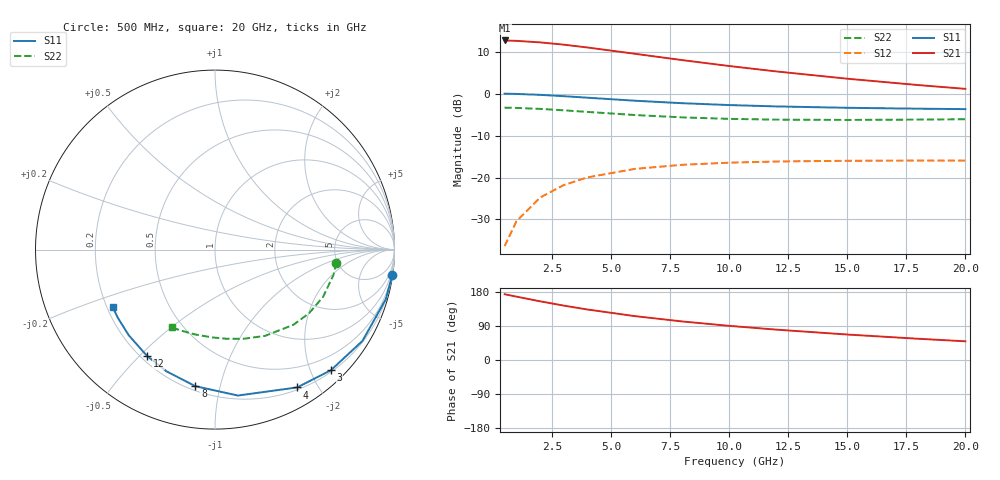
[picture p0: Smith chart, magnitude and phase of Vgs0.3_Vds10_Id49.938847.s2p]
# Hz S RI R 50
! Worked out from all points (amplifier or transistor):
!   12 points, 500 MHz to 20 GHz, reference 50 ohm
!   highest |S21| = 12.7 dB at 500 MHz (marker M1)
!   |S21| within 3 dB of that: start of sweep to 5.78 GHz
!   unconditionally stable (mu >= 1): 18.98 GHz to end of sweep
!   at 2 GHz: K = 0.10, MSG = 18.5 dB, |S12| = -24.8 dB
!   at 8 GHz: K = 0.40, MSG = 12.5 dB, |S12| = -17.0 dB
!   at 20 GHz: K = 1.06, MAG = 7.0 dB, |S12| = -16.0 dB
!   S11 on the Smith chart (normalised r, x): 500 MHz: 0, -14; 3 GHz: 0.23, -2.33; 4 GHz: 0.23, -1.74; 8 GHz: 0.23, -0.84; 12 GHz: 0.22, -0.53; 20 GHz: 0.22, -0.25
5e8  0.9876 -0.1413  -4.271 0.4819  0.00146 0.0151  0.6763 -0.0719
1e9  0.9516 -0.2765  -4.146 0.9421  0.00572 0.0295  0.6603 -0.1411
2e9  0.8217 -0.5086  -3.694 1.728  0.0211 0.0537  0.6023 -0.2632
3e9  0.6455 -0.6722  -3.082 2.274  0.0418 0.0697  0.5229 -0.3557
4e9  0.4576 -0.7679  -2.432 2.581  0.0636 0.0775  0.4367 -0.4189
6e9  0.1275 -0.8131  -1.304 2.686  0.1013 0.0758  0.2791 -0.4807
8e9  -0.1094 -0.7609  -0.5143 2.457  0.127 0.0629  0.1552 -0.4973
1e10  -0.2692 -0.6789  -0.00568 2.133  0.1427 0.047  0.0596 -0.4965
1.2e10  -0.3772 -0.5938  0.3148 1.81  0.1519 0.0314  -0.0177 -0.489
1.5e10  -0.4807 -0.4772  0.5828 1.387  0.158 0.0108  -0.1132 -0.4723
1.8e10  -0.5431 -0.3768  0.7058 1.049  0.1591 -0.00635  -0.1933 -0.4502
2e10  -0.5708 -0.3177  0.7422 0.8643  0.1582 -0.0161  -0.2408 -0.4325
